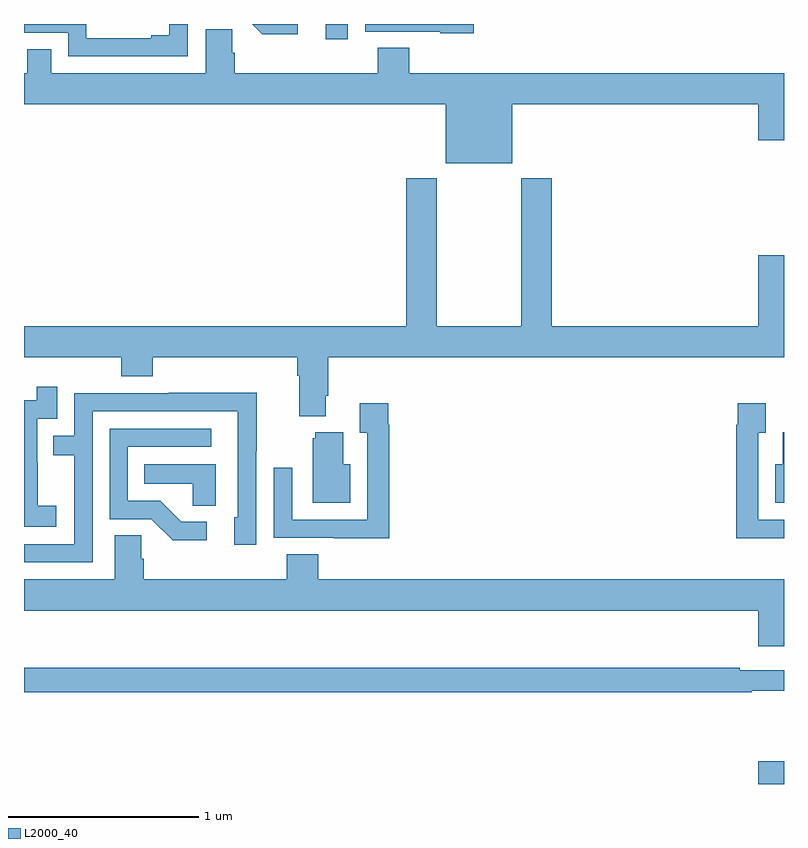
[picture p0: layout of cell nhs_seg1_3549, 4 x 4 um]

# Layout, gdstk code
import gdstk
lib = gdstk.Library(unit=1e-6, precision=1e-09)
def R(c, l, rs):  # rectangles x0, y0, x1, y1
    for r in rs: c.add(gdstk.rectangle(r[:2], r[2:], *l))
def P(c, l, *ps):  # polygons
    for p in ps: c.add(gdstk.Polygon(p, *l))
L2000_40 = (2000, 40)

nhs_seg1_3549 = lib.new_cell('nhs_seg1_3549')
R(nhs_seg1_3549, L2000_40, [(308.864,504.199,309,504.319), (306.587,508.119,306.705,508.199)])
P(nhs_seg1_3549, L2000_40, [(307.367,508.199),(306.795,508.199),(306.795,508.158),(307.191,508.158),(307.191,508.151),(307.367,508.151)],
  [(306.442,508.199),(306.2,508.199),(306.254,508.145),(306.442,508.145)],
  [(305.862,508.199),(305.765,508.199),(305.765,508.14),(305.669,508.14),(305.669,508.125),(305.328,508.125),(305.328,508.199),(305,508.199),(305,508.152),(305.232,508.152),(305.232,508.029),(305.862,508.029)],
  [(307.57,507.776),(308.864,507.776),(308.864,507.588),(309,507.588),(309,507.94),(307.028,507.94),(307.028,508.073),(306.863,508.073),(306.863,507.94),(306.11,507.94),(306.11,508.049),(306.096,508.049),(306.096,508.172),(305.957,508.172),(305.957,507.94),(305.143,507.94),(305.143,508.067),(305.016,508.067),(305.016,507.94),(305,507.94),(305,507.776),(307.22,507.776),(307.22,507.467),(307.57,507.467)],
  [(306.589,506.242),(306.602,506.242),(306.602,506.444),(309,506.444),(309,506.983),(308.864,506.983),(308.864,506.608),(307.778,506.608),(307.778,507.388),(307.618,507.388),(307.618,506.608),(307.173,506.608),(307.173,507.388),(307.013,507.388),(307.013,506.608),(305,506.608),(305,506.444),(305.513,506.444),(305.513,506.345),(305.678,506.345),(305.678,506.444),(306.437,506.444),(306.437,506.348),(306.449,506.348),(306.449,506.135),(306.589,506.135)],
  [(305.17,505.663),(305.072,505.663),(305.072,505.892),(305.07,505.892),(305.07,506.121),(305.175,506.121),(305.175,506.29),(305.067,506.29),(305.067,506.22),(305,506.22),(305,505.553),(305.17,505.553)],
  [(305.361,506.16),(306.126,506.16),(306.126,505.602),(306.107,505.602),(306.107,505.458),(306.222,505.458),(306.222,505.951),(306.225,505.951),(306.225,506.258),(305.761,506.258),(305.761,506.256),(305.265,506.256),(305.265,506.031),(305.155,506.031),(305.155,505.93),(305.265,505.93),(305.265,505.461),(305,505.461),(305,505.365),(305.361,505.365)],
  [(306.923,506.09),(306.916,506.09),(306.916,506.203),(306.767,506.203),(306.767,506.047),(306.807,506.047),(306.807,505.59),(306.411,505.59),(306.411,505.864),(306.315,505.864),(306.315,505.494),(306.631,505.494),(306.631,505.493),(306.923,505.493)],
  [(309,505.59),(308.865,505.59),(308.865,506.047),(308.905,506.047),(308.905,506.203),(308.757,506.203),(308.757,506.09),(308.749,506.09),(308.749,505.493),(309,505.493)],
  [(305.962,505.578),(305.827,505.578),(305.716,505.689),(305.547,505.689),(305.547,505.974),(305.986,505.974),(305.986,506.07),(305.451,506.07),(305.451,505.593),(305.67,505.593),(305.783,505.481),(305.962,505.481)],
  [(309,506.05),(308.993,506.05),(308.993,505.882),(308.954,505.882),(308.954,505.679),(309,505.679)],
  [(306.718,505.882),(306.679,505.882),(306.679,506.05),(306.533,506.05),(306.533,506.019),(306.521,506.019),(306.521,505.679),(306.718,505.679)],
  [(306.01,505.882),(305.632,505.882),(305.632,505.778),(305.889,505.778),(305.889,505.663),(306.01,505.663)],
  [(309,505.276),(306.548,505.276),(306.548,505.409),(306.383,505.409),(306.383,505.276),(305.63,505.276),(305.63,505.385),(305.616,505.385),(305.616,505.508),(305.477,505.508),(305.477,505.276),(305,505.276),(305,505.112),(308.864,505.112),(308.864,504.924),(309,504.924)],
  [(308.83,504.69),(309,504.69),(309,504.798),(308.768,504.798),(308.768,504.811),(305,504.811),(305,504.682),(308.83,504.682)])

lib.write_gds('nhs_seg1_3549.gds')
